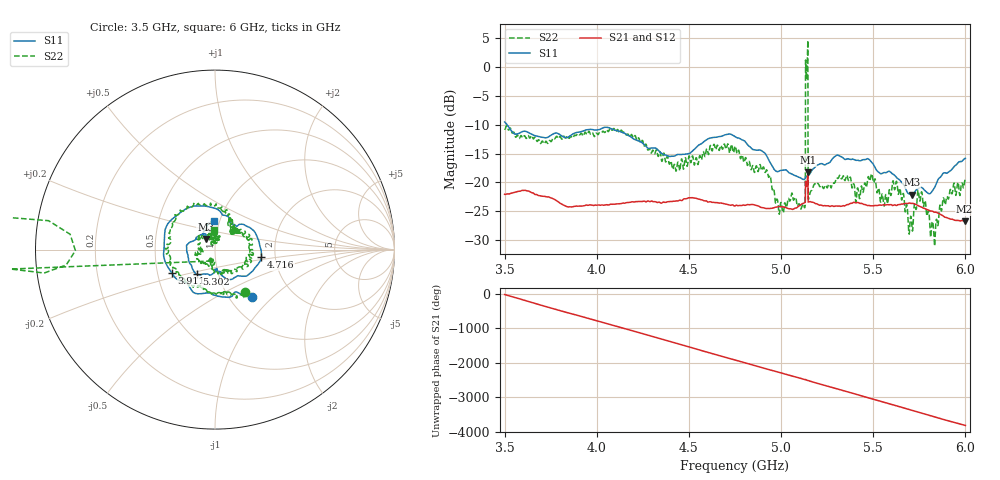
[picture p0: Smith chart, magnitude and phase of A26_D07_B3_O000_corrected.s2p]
! Created with skrf 1.9.0 (http://scikit-rf.org).
# Hz S RI R 50.0
!freq ReS11 ImS11 ReS21 ImS21 ReS12 ImS12 ReS22 ImS22
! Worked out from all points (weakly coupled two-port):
!   1601 points, 3.5 GHz to 6 GHz, reference 50 ohm
!   highest |S21| = -18.23 dB at 5.145 GHz (marker M1); lowest = -26.7 dB at 5.995 GHz (marker M2)
!   lowest |S11| = -22.1 dB at 5.709 GHz (marker M3), VSWR 1.17, Z = 44.8 + j5.38 ohm
!   |S11| at or under -10 dB: 3.513 GHz to end of sweep
!   |S22| runs from -31.0 to 4.5 dB; largest |S21 - S12| = 0.0012
!   S11 on the Smith chart (normalised r, x): 3.5 GHz: 1.27, -0.75; 3.911 GHz: 0.59, -0.17; 4.716 GHz: 1.69, -0.15; 5.302 GHz: 0.79, -0.22; 6 GHz: 0.93, +0.31
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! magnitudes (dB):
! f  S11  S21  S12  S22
! 3.5 GHz  -9.5  -22.0  -22.0  -10.7
! 3.911 GHz  -11.3  -24.1  -24.0  -11.7
! 3.917 GHz  -11.2  -24.1  -24.1  -11.5
! 4.334 GHz  -14.5  -23.4  -23.4  -15.5
! 4.422 GHz  -15.4  -23.2  -23.2  -16.9
! 4.716 GHz  -11.6  -23.9  -23.9  -13.9
! 4.75 GHz  -12.1  -24.0  -24.0  -13.8
! 4.914 GHz  -15.0  -24.5  -24.4  -18.3
! 5 GHz  -17.9  -24.2  -24.2  -23.4
! 5.117 GHz  -19.4  -23.6  -23.6  -23.8
! 5.133 GHz  -19.1  -19.8  -19.8  1.2
! 5.145 GHz  -18.8  -18.2  -18.2  4.5
! 5.159 GHz  -18.3  -23.3  -23.2  -21.6
! 5.167 GHz  -17.9  -23.4  -23.4  -21.3
! 5.302 GHz  -15.3  -24.1  -24.0  -19.2
! 5.584 GHz  -18.1  -23.9  -23.8  -21.8
! 5.619 GHz  -18.8  -23.9  -23.9  -20.9
! 5.709 GHz  -22.1  -23.6  -23.6  -27.4
! 5.753 GHz  -20.9  -24.1  -24.1  -23.2
! 5.823 GHz  -21.3  -25.0  -25.0  -26.9
! 5.995 GHz  -15.9  -26.7  -26.6  -19.9
! 6 GHz  -15.8  -26.7  -26.6  -19.4
